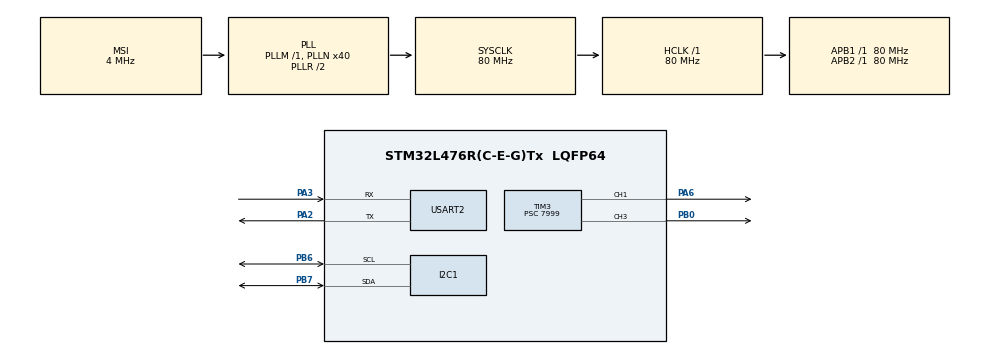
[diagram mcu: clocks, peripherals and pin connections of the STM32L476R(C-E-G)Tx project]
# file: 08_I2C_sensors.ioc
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I2C1.Timing=0x10D19CE4
Mcu.Family=STM32L4
Mcu.Name=STM32L476R(C-E-G)Tx
Mcu.Package=LQFP64
NVIC.PriorityGroup=NVIC_PRIORITYGROUP_4
PA13\ (JTMS-SWDIO).Mode=Serial_Wire
PA13\ (JTMS-SWDIO).Signal=SYS_JTMS-SWDIO
PA14\ (JTCK-SWCLK).Mode=Serial_Wire
PA14\ (JTCK-SWCLK).Signal=SYS_JTCK-SWCLK
PA2.Mode=Asynchronous
PA2.Signal=USART2_TX
PA3.Mode=Asynchronous
PA3.Signal=USART2_RX
PA6.Signal=S_TIM3_CH1
PB0.Signal=S_TIM3_CH3
PB6.Mode=I2C
PB6.Signal=I2C1_SCL
PB7.Mode=I2C
PB7.Signal=I2C1_SDA
ProjectManager.HeapSize=0x200
ProjectManager.StackSize=0x400
ProjectManager.TargetToolchain=STM32CubeIDE
RCC.AHBFreq_Value=80000000
RCC.APB1Freq_Value=80000000
RCC.APB1TimFreq_Value=80000000
RCC.APB2Freq_Value=80000000
RCC.APB2TimFreq_Value=80000000
RCC.CortexFreq_Value=80000000
RCC.HCLKFreq_Value=80000000
RCC.HSE_VALUE=8000000
RCC.HSI_VALUE=16000000
RCC.LSE_VALUE=32768
RCC.MSI_VALUE=4000000
RCC.PLLN=40
RCC.SYSCLKFreq_VALUE=80000000
RCC.SYSCLKSource=RCC_SYSCLKSOURCE_PLLCLK
RCC.VCOOutputFreq_Value=160000000
SH.S_TIM3_CH1.0=TIM3_CH1,PWM Generation1 CH1
SH.S_TIM3_CH3.0=TIM3_CH3,PWM Generation3 CH3
TIM3.AutoReloadPreload=TIM_AUTORELOAD_PRELOAD_ENABLE
TIM3.Channel-PWM\ Generation1\ CH1=TIM_CHANNEL_1
TIM3.Channel-PWM\ Generation3\ CH3=TIM_CHANNEL_3
TIM3.OCPolarity_1=TIM_OCPOLARITY_HIGH
TIM3.OCPolarity_3=TIM_OCPOLARITY_HIGH
TIM3.Period=255
TIM3.Prescaler=7999
USART2.VirtualMode-Asynchronous=VM_ASYNC
VP_TIM3_VS_ClockSourceINT.Mode=Internal
board=custom

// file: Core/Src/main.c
/* USER CODE BEGIN Header */
/**
  ******************************************************************************
  * @file           : main.c
  * @brief          : Main program body
  ******************************************************************************
  * @attention
  *
  * Copyright (c) 2026 STMicroelectronics.
  * All rights reserved.
  *
  * This software is licensed under terms that can be found in the LICENSE file
  * in the root directory of this software component.
  * If no LICENSE file comes with this software, it is provided AS-IS.
  *
  ******************************************************************************
  */
/* USER CODE END Header */
#include "main.h"
#include "i2c.h"
#include "tim.h"
#include "usart.h"
#include "gpio.h"

/* USER CODE BEGIN Includes */
#include "lps25hb.h"
/* USER CODE END Includes */

/* USER CODE BEGIN PD */
#define MAX_HEIGHT_RANGE	5.0f
/* USER CODE END PD */

void SystemClock_Config(void);

/* USER CODE BEGIN 0 */
int __io_putchar(int ch)
{
  if (ch == '\n') {
    __io_putchar('\r');
  }
  HAL_UART_Transmit(&huart2, (uint8_t*)&ch, 1, HAL_MAX_DELAY);
  return 1;
}

/* USER CODE END 0 */

int main(void)
{

  /* MCU Configuration--------------------------------------------------------*/

  /* Reset of all peripherals, Initializes the Flash interface and the Systick. */
  HAL_Init();

  /* Configure the system clock */
  SystemClock_Config();

  /* Initialize all configured peripherals */
  MX_GPIO_Init();
  MX_I2C1_Init();
  MX_USART2_UART_Init();
  MX_TIM3_Init();
  /* USER CODE BEGIN 2 */
  printf("Searching...\n");
  if (lps25hb_init() == HAL_OK) {
    printf("OK: LPS25HB\n");
  } else {
    printf("Error: LPS25HB not found\n");
    Error_Handler();
  }

  HAL_TIM_PWM_Start(&htim3, TIM_CHANNEL_1);
  HAL_TIM_PWM_Start(&htim3, TIM_CHANNEL_3);

  HAL_Delay(200);

  float p0 = lps25hb_read_pressure();
  /* USER CODE END 2 */

  /* Infinite loop */
  /* USER CODE BEGIN WHILE */

  while (1){
	  //lps25hb_set_calib(48);

	  float p = lps25hb_read_pressure();

	  float temp_c = lps25hb_read_temp();
	  float temp_k = temp_c + 273.15;

	  float h = -29.271769 * temp_k * log(p / p0);

	  uint16_t pulse_R = 0;
	  uint16_t pulse_B = 0;

	  int32_t intensity = (int32_t)((fabsf(h) / MAX_HEIGHT_RANGE) * 9999.0f);

	  if(intensity > 255) intensity = 9999;
	  if(intensity < 0) intensity = 0;

	  if(h > 0.1f){
		  pulse_R = intensity;
		  pulse_B = 0;
	  } else if (h < -0.1f){
		  pulse_R = 0;
		  pulse_B = intensity;
	  } else {
		  pulse_R = 0;
		  pulse_B = 0;
	  }

	  __HAL_TIM_SET_COMPARE(&htim3, TIM_CHANNEL_1, pulse_R);
	  __HAL_TIM_SET_COMPARE(&htim3, TIM_CHANNEL_3, pulse_B);

	  printf("T = %.1f*C\n", lps25hb_read_temp());
	  printf("p = %.1f hPa\n", lps25hb_read_pressure());
	  printf("p0 = %.2f hP\n", p0);
	  printf("h = %.2f m\n", h);
	  printf("PWM R: %u, B: %u\n", pulse_R, pulse_B);
	  printf("------------------------\n");
	  HAL_Delay(1000);

    /* USER CODE END WHILE */

  }
}

void SystemClock_Config(void)
{
  RCC_OscInitTypeDef RCC_OscInitStruct = {0};
  RCC_ClkInitTypeDef RCC_ClkInitStruct = {0};

  /** Configure the main internal regulator output voltage
  */
  if (HAL_PWREx_ControlVoltageScaling(PWR_REGULATOR_VOLTAGE_SCALE1) != HAL_OK)
  {
    Error_Handler();
  }

  /** Initializes the RCC Oscillators according to the specified parameters
  * in the RCC_OscInitTypeDef structure.
  */
  RCC_OscInitStruct.OscillatorType = RCC_OSCILLATORTYPE_MSI;
  RCC_OscInitStruct.MSIState = RCC_MSI_ON;
  RCC_OscInitStruct.MSICalibrationValue = 0;
  RCC_OscInitStruct.MSIClockRange = RCC_MSIRANGE_6;
  RCC_OscInitStruct.PLL.PLLState = RCC_PLL_ON;
  RCC_OscInitStruct.PLL.PLLSource = RCC_PLLSOURCE_MSI;
  RCC_OscInitStruct.PLL.PLLM = 1;
  RCC_OscInitStruct.PLL.PLLN = 40;
  RCC_OscInitStruct.PLL.PLLP = RCC_PLLP_DIV7;
  RCC_OscInitStruct.PLL.PLLQ = RCC_PLLQ_DIV2;
  RCC_OscInitStruct.PLL.PLLR = RCC_PLLR_DIV2;
  if (HAL_RCC_OscConfig(&RCC_OscInitStruct) != HAL_OK)
  {
    Error_Handler();
  }

  /** Initializes the CPU, AHB and APB buses clocks
  */
  RCC_ClkInitStruct.ClockType = RCC_CLOCKTYPE_HCLK|RCC_CLOCKTYPE_SYSCLK
                              |RCC_CLOCKTYPE_PCLK1|RCC_CLOCKTYPE_PCLK2;
  RCC_ClkInitStruct.SYSCLKSource = RCC_SYSCLKSOURCE_PLLCLK;
  RCC_ClkInitStruct.AHBCLKDivider = RCC_SYSCLK_DIV1;
  RCC_ClkInitStruct.APB1CLKDivider = RCC_HCLK_DIV1;
  RCC_ClkInitStruct.APB2CLKDivider = RCC_HCLK_DIV1;

  if (HAL_RCC_ClockConfig(&RCC_ClkInitStruct, FLASH_LATENCY_4) != HAL_OK)
  {
    Error_Handler();
  }
}

void Error_Handler(void)
{
  __disable_irq();
  while (1)
  {
  }
}
